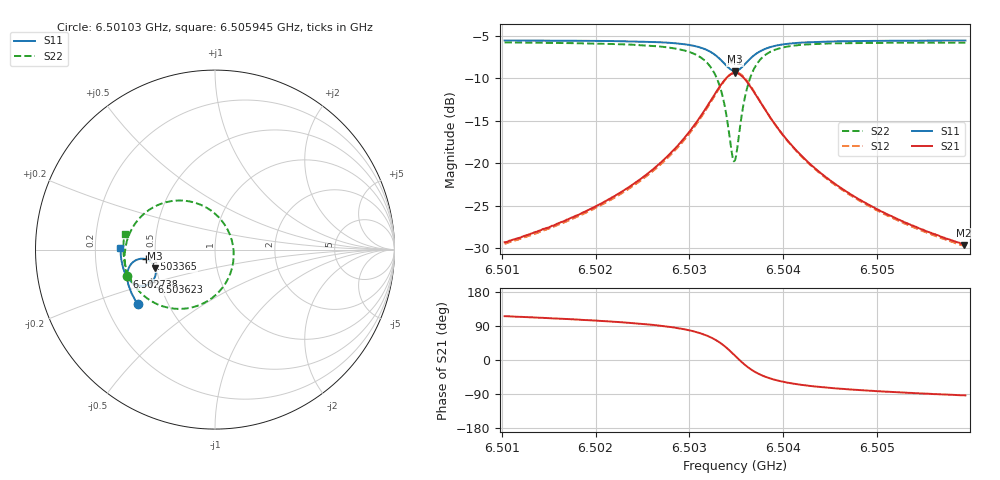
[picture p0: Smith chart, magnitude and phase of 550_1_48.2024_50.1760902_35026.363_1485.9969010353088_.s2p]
#  HZ  S  RI  R  50.00
! Rohde & Schwarz Vector Network Analyzer
! Rohde-Schwarz,ZNB20-2Port,1311601062101988,3.16
! Created: UTC 3/20/2024, 12:00:44 PM
! freq[Hz]  re:S11  im:S11  re:S21  im:S21  re:S12  im:S12  re:S22  im:S22
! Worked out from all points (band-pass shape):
!   401 points, 6.50103 GHz to 6.505945 GHz, reference 50 ohm
!   highest |S21| = -9.39 dB at 6.503487 GHz (marker M1); lowest = -29.6 dB at 6.505933 GHz (marker M2)
!   |S21| within 3 dB of the highest: 6.503242 GHz to 6.503734 GHz (491.2 kHz wide, 0.00755 % of centre)
!   lowest |S11| = -9.2 dB at 6.503487 GHz (marker M3), VSWR 2.07, Z = 24.6 - j5.81 ohm
!   |S11| at or under -10 dB: nowhere
!   |S22| runs from -19.8 to -5.8 dB; largest |S21 - S12| = 0.011
!   S11 on the Smith chart (normalised r, x): 6.50103 GHz: 0.34, -0.29; 6.502738 GHz: 0.33, -0.14; 6.503365 GHz: 0.44, -0.05; 6.503623 GHz: 0.45, -0.19; 6.505945 GHz: 0.31, +0.01
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6.5010296e9  -0.4297 -0.3052  -0.0148 0.031  -0.0132 0.031  -0.4915 -0.1486
6.501853e9  -0.4647 -0.2436  -0.014 0.0491  -0.0116 0.0486  -0.5035 -0.0598
6.50232e9  -0.4807 -0.2015  -0.0108 0.0695  -0.00787 0.0683  -0.4994 0.00813
6.5026764e9  -0.4887 -0.1612  -0.00157 0.0989  0.00195 0.0965  -0.4794 0.0818
6.5027378e9  -0.4893 -0.1529  0.00172 0.106  0.00522 0.1035  -0.4722 0.0977
6.502959e9  -0.4857 -0.1178  0.0236 0.1415  0.0271 0.1373  -0.4264 0.1685
6.5031188e9  -0.4711 -0.0856  0.0629 0.1775  0.0656 0.1719  -0.3499 0.2322
6.5032663e9  -0.4334 -0.0559  0.1445 0.2065  0.1452 0.2006  -0.2014 0.2735
6.5033646e9  -0.3869 -0.0527  0.236 0.1902  0.236 0.1857  -0.0431 0.2312
6.5034506e9  -0.3438 -0.0818  0.3146 0.1157  0.3172 0.1118  0.0825 0.0847
6.5034875e9  -0.3329 -0.1038  0.3324 0.067  0.3362 0.0618  0.1037 -0.00679
6.5035121e9  -0.3297 -0.1202  0.3359 0.0323  0.3401 0.0259  0.1013 -0.0704
6.5035489e9  -0.332 -0.1443  0.3287 -0.0181  0.3325 -0.0266  0.0742 -0.1594
6.5036227e9  -0.354 -0.1816  0.2821 -0.0948  0.2823 -0.106  -0.0355 -0.283
6.5037333e9  -0.3998 -0.2017  0.195 -0.1402  0.1899 -0.1501  -0.2121 -0.3299
6.503893e9  -0.4472 -0.1923  0.1109 -0.1365  0.104 -0.1418  -0.3635 -0.2814
6.5040651e9  -0.4753 -0.1709  0.0652 -0.1156  0.0591 -0.1178  -0.4372 -0.2148
6.5043109e9  -0.4962 -0.141  0.0345 -0.0903  0.0299 -0.0908  -0.4813 -0.1414
6.5046796e9  -0.5118 -0.102  0.0153 -0.0663  0.0119 -0.066  -0.5042 -0.0657
6.5051343e9  -0.5213 -0.0594  0.00521 -0.0493  0.0029 -0.0487  -0.5106 -7.85e-05
6.5059331e9  -0.5263 0.00868  -0.00177 -0.0331  -0.00324 -0.0326  -0.5034 0.0858
6.5059454e9  -0.5265 0.00974  -0.002 -0.0331  -0.00333 -0.0324  -0.5031 0.0871
